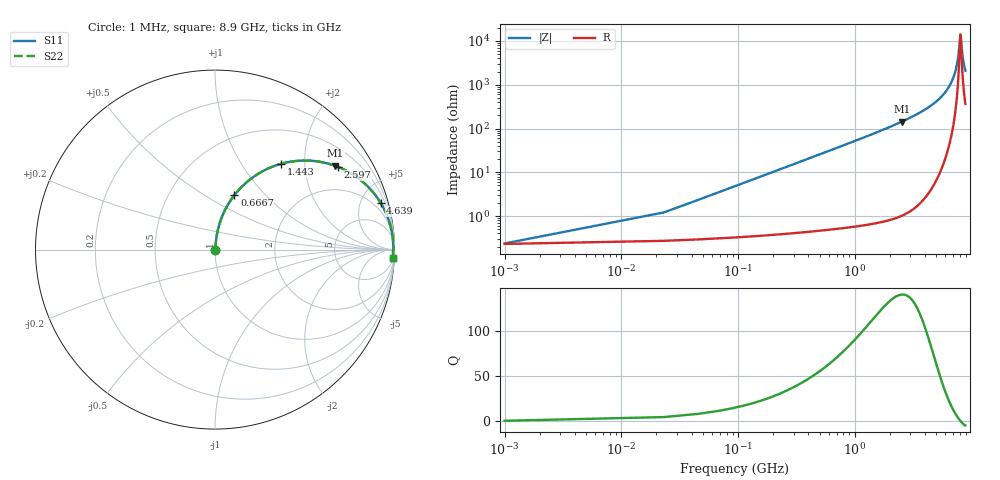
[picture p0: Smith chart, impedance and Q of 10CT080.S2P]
! Coilcraft 1008CT-080 Chip Inductor
! 17 July 2002
# MHZ S MA R 50
!Freq  MagS11  AngS11  MagS21  AngS21  MagS12  AngS12  MagS22  AngS22
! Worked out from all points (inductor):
!   403 points, 1 MHz to 8.9 GHz, reference 50 ohm
!   read as one part in series: L = 8.1 nH near 45.38 MHz
!   highest Q = 141 at 2.531 GHz (marker M1), where L = 8.98 nH
!   self-resonance near 8.056 GHz
!   S11 on the Smith chart (normalised r, x): 1 MHz: 1.00, +0.00; 666.7 MHz: 1.01, +0.68; 1.443 GHz: 1.01, +1.52; 2.597 GHz: 1.02, +2.95; 4.639 GHz: 1.09, +7.05; 8.9 GHz: 8, -41
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1  0.002357 12.4  0.9977 -0.0  0.9977 -0.0  0.002357 12.4
67.57  0.0344 82.9  0.9963 -2.0  0.9963 -2.0  0.0344 82.9
111.95  0.0568 83.4  0.9951 -3.3  0.9951 -3.3  0.0568 83.4
156.33  0.07914 82.9  0.9934 -4.5  0.9934 -4.5  0.07914 82.9
245.09  0.1235 81.1  0.9885 -7.1  0.9885 -7.1  0.1235 81.1
356.04  0.178 78.4  0.9799 -10.2  0.9799 -10.2  0.178 78.4
666.7  0.3219 70.4  0.9421 -18.8  0.9421 -18.8  0.3219 70.4
1443.35  0.602 52.5  0.7933 -37.0  0.7933 -37.0  0.602 52.5
1487.73  0.6143 51.6  0.7838 -37.9  0.7838 -37.9  0.6143 51.6
2530.66  0.8165 34.9  0.5716 -54.7  0.5716 -54.7  0.8165 34.9
2597.23  0.8249 34.0  0.5594 -55.6  0.5594 -55.6  0.8249 34.0
2974.46  0.8657 29.6  0.4942 -60.0  0.4942 -60.0  0.8657 29.6
4461.19  0.9531 17.0  0.2916 -72.4  0.2916 -72.4  0.9531 17.0
4638.71  0.9588 15.8  0.272 -73.5  0.272 -73.5  0.9588 15.8
5947.92  0.9845 8.6  0.1487 -79.7  0.1487 -79.7  0.9845 8.6
6835.52  0.9914 4.6  0.08087 -81.6  0.08087 -81.6  0.9914 4.6
7434.65  0.9931 2.3  0.04039 -79.0  0.04039 -79.0  0.9931 2.3
7723.12  0.9932 1.2  0.02247 -71.9  0.02247 -71.9  0.9932 1.2
8011.59  0.993 0.2  0.007904 -28.3  0.007904 -28.3  0.993 0.2
8078.16  0.993 -0.0  0.007047 1.8  0.007047 1.8  0.993 -0.0
8455.39  0.9921 -1.3  0.02352 69.8  0.02352 69.8  0.9921 -1.3
8900  0.9906 -2.7  0.0477 77.2  0.0477 77.2  0.9906 -2.7
